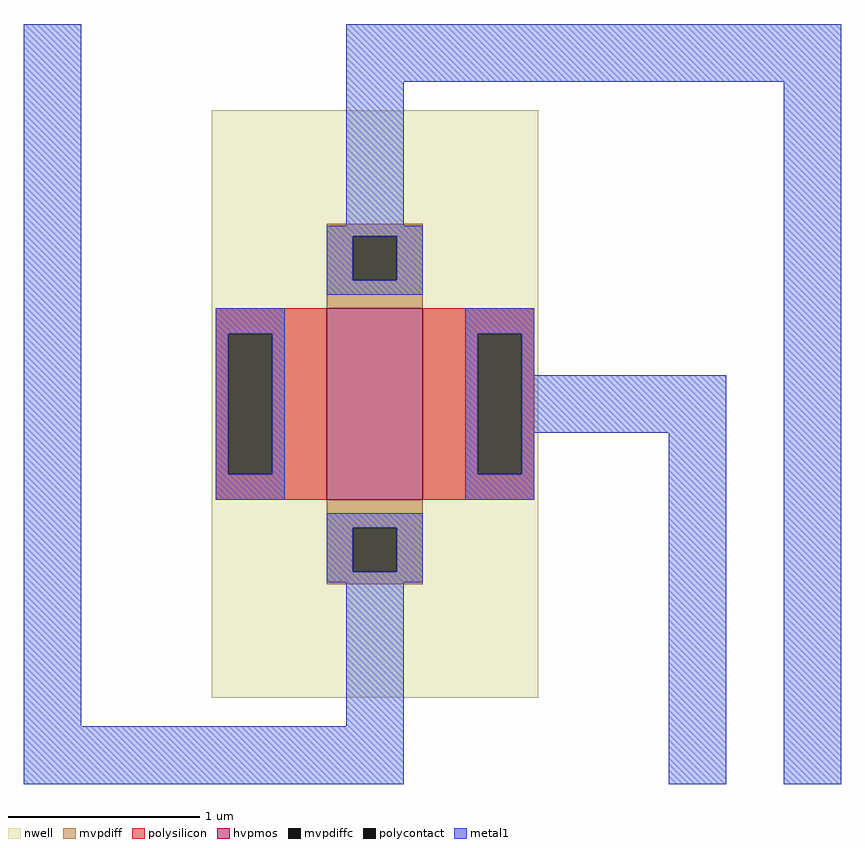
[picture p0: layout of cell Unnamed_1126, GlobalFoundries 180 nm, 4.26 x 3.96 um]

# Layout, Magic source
magic
tech gf180mcuD
magscale 1 10
<< nwell >>
rect -220 -192 120 420
<< hvpmos >>
rect -100 14 0 214
<< mvpdiff >>
rect -100 289 0 302
rect -100 243 -73 289
rect -27 243 0 289
rect -100 214 0 243
rect -100 -15 0 14
rect -100 -61 -73 -15
rect -27 -61 0 -15
rect -100 -74 0 -61
<< mvpdiffc >>
rect -73 243 -27 289
rect -73 -61 -27 -15
<< polysilicon >>
rect -216 187 -100 214
rect -216 41 -203 187
rect -157 41 -100 187
rect -216 14 -100 41
rect 0 187 116 214
rect 0 41 57 187
rect 103 41 116 187
rect 0 14 116 41
<< polycontact >>
rect -203 41 -157 187
rect 57 41 103 187
<< metal1 >>
rect -416 -222 -356 510
rect -80 450 436 510
rect -80 300 -20 450
rect -100 289 0 300
rect -100 243 -73 289
rect -27 243 0 289
rect -100 228 0 243
rect -216 187 -144 214
rect -216 41 -203 187
rect -157 41 -144 187
rect -216 14 -144 41
rect 44 187 116 214
rect 44 41 57 187
rect 103 144 116 187
rect 103 84 316 144
rect 103 41 116 84
rect 44 14 116 41
rect -100 -15 0 0
rect -100 -61 -73 -15
rect -27 -61 0 -15
rect -100 -72 0 -61
rect -80 -222 -20 -72
rect -416 -282 -20 -222
rect 256 -282 316 84
rect 376 -282 436 450
<< end >>
